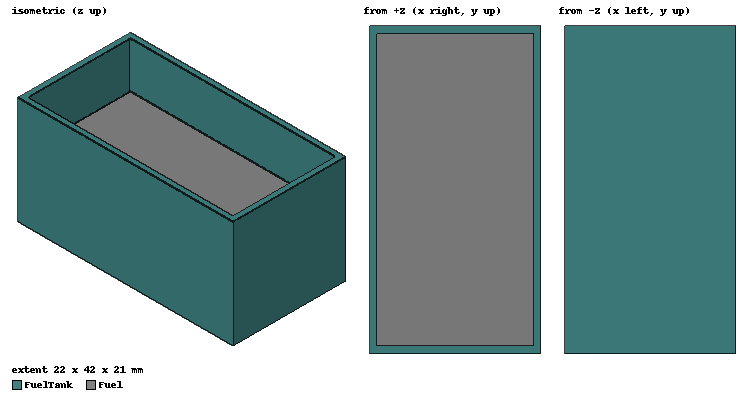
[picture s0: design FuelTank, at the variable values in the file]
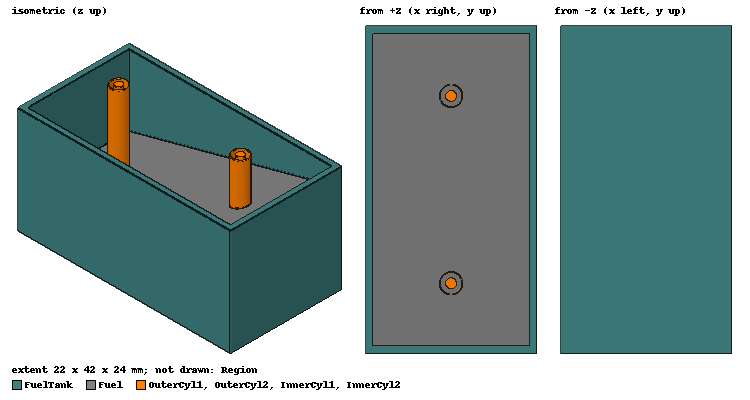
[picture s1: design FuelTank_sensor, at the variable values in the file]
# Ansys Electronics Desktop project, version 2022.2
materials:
  JetFuel: permittivity=1.7 conductivity=1e-10
  steel_stainless: conductivity=1100000
  vacuum: permittivity=1
  copper: permeability=0.999991 conductivity=58000000

design FuelTank (Maxwell 3D, Electrostatic, model units mm)
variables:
  tank_W = 20mm
  tank_L = 40mm
  tank_H = 20mm
  TankThickness = 1mm
  inclination_angle = 0deg
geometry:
  Fuel [JetFuel] = box(corner=(-tank_W/2, - tank_L/2, -0.001), size=(tank_W, tank_L, tank_H))
  FuelTank [steel_stainless] = box(corner=(-(tank_W/2) - TankThickness, - (tank_L/2) - TankThickness, - 1e-3 - TankThickness), size=(tank_W + (TankThickness*2), tank_L + (TankThickness*2), tank_H + TankThickness))
  Fuel2 = box(corner=(-tank_W/2, - tank_L/2, -0.001), size=(tank_W, tank_L, tank_H))
  FuelTank.subtract(Fuel2)
  Fuel3 = box(corner=(-tank_W/2, - tank_L/2 - 10e-3, (tank_H/2)), size=(tank_W, tank_L + 20e-3, tank_H/2 + 50e-3))
  Fuel3.rotate(axis=X, angle=inclination_angle)
  Fuel.subtract(Fuel3)
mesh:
  initial mesh: GlobalCurvilinear{Apply}
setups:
  Setup1: Electrostatic MaximumPasses=10 MinimumPasses=1 MinimumConvergedPasses=1 PercentRefinement=30 PercentError=1 NonLinearResidual=0.001

design FuelTank_sensor (Maxwell 3D, Electrostatic, model units mm)
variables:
  tank_W = 20mm
  tank_L = 40mm
  tank_H = 20mm
  TankThickness = 1mm
  inclination_angle = 15deg
  b = 1.4mm
  a = 0.7mm
  d = 12mm
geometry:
  Fuel [JetFuel] = box(corner=(-tank_W/2, - tank_L/2, -0.001), size=(tank_W, tank_L, tank_H))
  FuelTank [steel_stainless] = box(corner=(-(tank_W/2) - TankThickness, - (tank_L/2) - TankThickness, - 1e-3 - TankThickness), size=(tank_W + (TankThickness*2), tank_L + (TankThickness*2), tank_H + TankThickness))
  Fuel2 = box(corner=(-tank_W/2, - tank_L/2, -0.001), size=(tank_W, tank_L, tank_H))
  FuelTank.subtract(Fuel2)
  Fuel3 = box(corner=(-tank_W/2, - tank_L/2 - 10e-3, (tank_H/2)), size=(tank_W, tank_L + 20e-3, tank_H/2 + 50e-3))
  Fuel3.rotate(axis=X, angle=inclination_angle)
  Fuel.subtract(Fuel3)
  OuterCylSub = cylinder(axis=Z, base_centre=(0mm, 0mm, 0mm), radius=b, height=22mm)
  OuterCyl1 [copper] = cylinder(axis=Z, base_centre=(0mm, 0mm, 0mm), radius=b+0.1e-3, height=22mm)
  OuterCyl1.subtract(OuterCylSub)
  InnerCyl1 [copper] = cylinder(axis=Z, base_centre=(0mm, 0mm, 0mm), radius=a, height=22mm)
  [InnerCyl1, OuterCyl1].move(0mm, d, 0mm)
  OuterCyl2 [copper] = cylinder(axis=Z, base_centre=(0mm, 0mm, 0mm), radius=b+0.1e-3, height=22mm)
  OuterCylSub1 = cylinder(axis=Z, base_centre=(0mm, 0mm, 0mm), radius=b, height=22mm)
  OuterCyl2.subtract(OuterCylSub1)
  OuterCyl2.move(0mm, -d, 0mm)
  InnerCyl2 [copper] = cylinder(axis=Z, base_centre=(0mm, 0mm, 0mm), radius=a, height=22mm)
  InnerCyl2.move(0mm, -d, 0mm)
  InnerCyl1_1 = InnerCyl1.copy()
  InnerCyl2_1 = InnerCyl2.copy()
  OuterCyl1_1 = OuterCyl1.copy()
  OuterCyl2_1 = OuterCyl2.copy()
  Fuel.subtract(InnerCyl1_1, InnerCyl2_1, OuterCyl1_1, OuterCyl2_1)
  Region [vacuum] = region(percentage_offset: +X=100, -X=100, +Y=100, -Y=100, +Z=0, -Z=0)
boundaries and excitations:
  Inner1: Voltage Objects=InnerCyl1 Voltage=10V
  Outer1: Voltage Objects=OuterCyl1 Voltage=-10V
  Inner2: Voltage Objects=InnerCyl2 Voltage=10V
  Outer2: Voltage Objects=OuterCyl2 Voltage=-10V
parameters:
  Matrix1: Matrix Inner1, Inner2, Outer1, Outer2: NumberOfTurns=1
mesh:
  initial mesh: GlobalCurvilinear{Apply}
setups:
  Setup1: Electrostatic MaximumPasses=10 MinimumPasses=1 MinimumConvergedPasses=1 PercentRefinement=30 PercentError=1 NonLinearResidual=0.001
